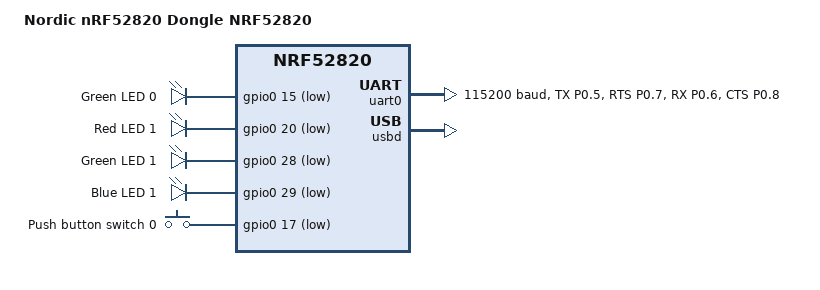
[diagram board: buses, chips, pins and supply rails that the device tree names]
/*
 * Copyright (c) 2020 Nordic Semiconductor ASA
 *
 * SPDX-License-Identifier: LicenseRef-Nordic-5-Clause
 */

/dts-v1/;
#include <nordic/nrf52820_qdaa.dtsi>

/ {
	model = "Nordic nRF52820 Dongle NRF52820";
	compatible = "nordic,nrf52820-dongle-nrf52820";

	chosen {
		zephyr,console = &uart0;
		zephyr,sram = &sram0;
		zephyr,flash = &flash0;
		zephyr,code-partition = &slot0_partition;
	};

	leds {
		compatible = "gpio-leds";
		led0_green: led_0 {
			gpios = <&gpio0 15 GPIO_ACTIVE_LOW>;
			label = "Green LED 0";
		};
		led1_red: led_1 {
			gpios = <&gpio0 20 GPIO_ACTIVE_LOW>;
			label = "Red LED 1";
		};
		led1_green: led_2 {
			gpios = <&gpio0 28 GPIO_ACTIVE_LOW>;
			label = "Green LED 1";
		};
		led1_blue: led_3 {
			gpios = <&gpio0 29 GPIO_ACTIVE_LOW>;
			label = "Blue LED 1";
		};
	};

	buttons {
		compatible = "gpio-keys";
		button0: button_0 {
			gpios = <&gpio0 17 (GPIO_PULL_UP | GPIO_ACTIVE_LOW)>;
			label = "Push button switch 0";
		};
	};

	/* These aliases are provided for compatibility with samples */
	aliases {
		sw0 = &button0;
		led0 = &led0_green;
		led1 = &led1_red;
		led2 = &led1_green;
		led3 = &led1_blue;
		led0-green = &led0_green;
		led1-red   = &led1_red;
		led1-green = &led1_green;
		led1-blue  = &led1_blue;
		mcuboot-button0 = &button0;
		mcuboot-led0 = &led1_blue;
		watchdog0 = &wdt0;
	};
};

&uicr {
	gpio-as-nreset;
};

&gpiote {
	status = "okay";
};

&gpio0 {
	status = "okay";
};

&uart0 {
	compatible = "nordic,nrf-uart";
	status = "okay";
	current-speed = <115200>;
	pinctrl-0 = <&uart0_default>;
	pinctrl-1 = <&uart0_sleep>;
	pinctrl-names = "default", "sleep";
};

&pinctrl {
	uart0_default: uart0_default {
		group1 {
			psels = <NRF_PSEL(UART_TX, 0, 5)>,
				<NRF_PSEL(UART_RTS, 0, 7)>,
				<NRF_PSEL(UART_RX, 0, 6)>,
				<NRF_PSEL(UART_CTS, 0, 8)>;
		};
	};

	uart0_sleep: uart0_sleep {
		group1 {
			psels = <NRF_PSEL(UART_TX, 0, 5)>,
				<NRF_PSEL(UART_RTS, 0, 7)>,
				<NRF_PSEL(UART_RX, 0, 6)>,
				<NRF_PSEL(UART_CTS, 0, 8)>;
			low-power-enable;
		};
	};
};

&flash0 {
	/*
	 * For more information, see:
	 * http://docs.zephyrproject.org/latest/guides/dts/index.html#flash-partitions
	 */
	partitions {
		compatible = "fixed-partitions";
		#address-cells = <1>;
		#size-cells = <1>;

		boot_partition: partition@0 {
			label = "mcuboot";
			reg = <0x000000000 0xd000>;
		};
		slot0_partition: partition@d000 {
			label = "image-0";
			reg = <0x0000d000 0x30000>;
		};
		slot1_partition: partition@3d000 {
			label = "image-1";
			reg = <0x0003d000 0x1000>;
		};
		storage_partition: partition@3e000 {
			label = "storage";
			reg = <0x0003e000 0x00002000>;
		};
	};
};

zephyr_udc0: &usbd {
	compatible = "nordic,nrf-usbd";
	status = "okay";
};
